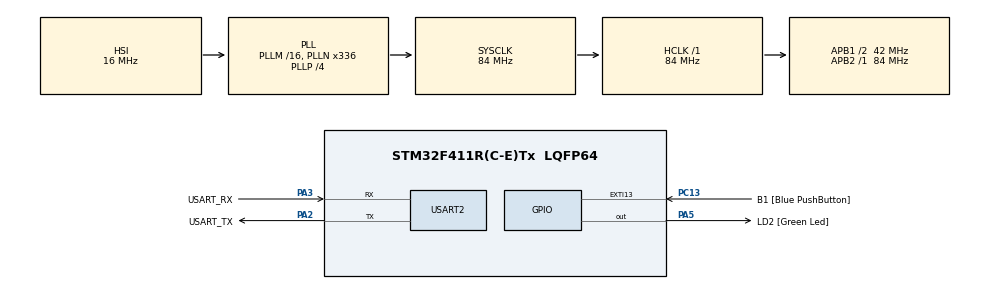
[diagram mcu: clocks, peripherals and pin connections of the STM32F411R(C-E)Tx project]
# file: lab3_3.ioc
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FREERTOS.BinarySemaphores01=Sem,Dynamic,NULL
FREERTOS.Tasks01=defaultTask,0,128,StartDefaultTask,Default,NULL,Dynamic,NULL,NULL
Mcu.Family=STM32F4
Mcu.Name=STM32F411R(C-E)Tx
Mcu.Package=LQFP64
NVIC.PriorityGroup=NVIC_PRIORITYGROUP_4
NVIC.TIM1_UP_TIM10_IRQn=true\:0\:0\:false\:false\:true\:false\:false\:true
NVIC.TimeBase=TIM1_UP_TIM10_IRQn
NVIC.TimeBaseIP=TIM1
PA13.GPIO_Label=TMS
PA13.Mode=Serial_Wire
PA13.Signal=SYS_JTMS-SWDIO
PA14.GPIO_Label=TCK
PA14.Mode=Serial_Wire
PA14.Signal=SYS_JTCK-SWCLK
PA2.GPIO_Label=USART_TX
PA2.Mode=Asynchronous
PA2.Signal=USART2_TX
PA3.GPIO_Label=USART_RX
PA3.Mode=Asynchronous
PA3.Signal=USART2_RX
PA5.GPIO_Label=LD2 [Green Led]
PA5.Signal=GPIO_Output
PB3.GPIO_Label=SWO
PB3.Signal=SYS_JTDO-SWO
PC13-ANTI_TAMP.GPIO_Label=B1 [Blue PushButton]
PC13-ANTI_TAMP.GPIO_ModeDefaultEXTI=GPIO_MODE_IT_FALLING
PC13-ANTI_TAMP.Signal=GPXTI13
PC14-OSC32_IN.Mode=LSE-External-Oscillator
PC14-OSC32_IN.Signal=RCC_OSC32_IN
PC15-OSC32_OUT.Mode=LSE-External-Oscillator
PC15-OSC32_OUT.Signal=RCC_OSC32_OUT
PH0\ -\ OSC_IN.Mode=HSE-External-Clock-Source
PH0\ -\ OSC_IN.Signal=RCC_OSC_IN
PH1\ -\ OSC_OUT.Mode=HSE-External-Clock-Source
PH1\ -\ OSC_OUT.Signal=RCC_OSC_OUT
ProjectManager.HeapSize=0x200
ProjectManager.StackSize=0x400
ProjectManager.TargetToolchain=STM32CubeIDE
RCC.48MHZClocksFreq_Value=84000000
RCC.AHBFreq_Value=84000000
RCC.APB1CLKDivider=RCC_HCLK_DIV2
RCC.APB1Freq_Value=42000000
RCC.APB1TimFreq_Value=84000000
RCC.APB2Freq_Value=84000000
RCC.APB2TimFreq_Value=84000000
RCC.CortexFreq_Value=84000000
RCC.FLatency-AdvancedSettings=FLASH_LATENCY_2
RCC.HCLKFreq_Value=84000000
RCC.HSE_VALUE=8000000
RCC.HSI_VALUE=16000000
RCC.PLLN=336
RCC.PLLP=RCC_PLLP_DIV4
RCC.SYSCLKFreq_VALUE=84000000
RCC.SYSCLKSource=RCC_SYSCLKSOURCE_PLLCLK
RCC.VCOOutputFreq_Value=336000000
USART2.VirtualMode=VM_ASYNC
VP_FREERTOS_VS_CMSIS_V1.Mode=CMSIS_V1
VP_SYS_VS_tim1.Mode=TIM1
board=NUCLEO-F411RE

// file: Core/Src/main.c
/* USER CODE BEGIN Header */
/**
  ******************************************************************************
  * @file           : main.c
  * @brief          : Main program body
  ******************************************************************************
  * @attention
  *
  * <h2><center>&copy; Copyright (c) 2021 STMicroelectronics.
  * All rights reserved.</center></h2>
  *
  * This software component is licensed by ST under BSD 3-Clause license,
  * the "License"; You may not use this file except in compliance with the
  * License. You may obtain a copy of the License at:
  *                        opensource.org/licenses/BSD-3-Clause
  *
  ******************************************************************************
  */
/* USER CODE END Header */
#include "main.h"
#include "cmsis_os.h"

UART_HandleTypeDef huart2;

osThreadId defaultTaskHandle;
osSemaphoreId SemHandle;

void SystemClock_Config(void);
static void MX_GPIO_Init(void);
static void MX_USART2_UART_Init(void);
void StartDefaultTask(void const * argument);

int main(void)
{

  /* MCU Configuration--------------------------------------------------------*/

  /* Reset of all peripherals, Initializes the Flash interface and the Systick. */
  HAL_Init();

  /* Configure the system clock */
  SystemClock_Config();

  /* Initialize all configured peripherals */
  MX_GPIO_Init();
  MX_USART2_UART_Init();

  /* Create the semaphores(s) */
  /* definition and creation of Sem */
  osSemaphoreDef(Sem);
  SemHandle = osSemaphoreCreate(osSemaphore(Sem), 1);

  /* Create the thread(s) */
  /* definition and creation of defaultTask */
  osThreadDef(defaultTask, StartDefaultTask, osPriorityNormal, 0, 128);
  defaultTaskHandle = osThreadCreate(osThread(defaultTask), NULL);

  /* Start scheduler */
  osKernelStart();

  /* We should never get here as control is now taken by the scheduler */
  /* Infinite loop */
  while (1)
  {

  }
}

void SystemClock_Config(void)
{
  RCC_OscInitTypeDef RCC_OscInitStruct = {0};
  RCC_ClkInitTypeDef RCC_ClkInitStruct = {0};

  /** Configure the main internal regulator output voltage
  */
  __HAL_RCC_PWR_CLK_ENABLE();
  __HAL_PWR_VOLTAGESCALING_CONFIG(PWR_REGULATOR_VOLTAGE_SCALE1);
  /** Initializes the RCC Oscillators according to the specified parameters
  * in the RCC_OscInitTypeDef structure.
  */
  RCC_OscInitStruct.OscillatorType = RCC_OSCILLATORTYPE_HSI;
  RCC_OscInitStruct.HSIState = RCC_HSI_ON;
  RCC_OscInitStruct.HSICalibrationValue = RCC_HSICALIBRATION_DEFAULT;
  RCC_OscInitStruct.PLL.PLLState = RCC_PLL_ON;
  RCC_OscInitStruct.PLL.PLLSource = RCC_PLLSOURCE_HSI;
  RCC_OscInitStruct.PLL.PLLM = 16;
  RCC_OscInitStruct.PLL.PLLN = 336;
  RCC_OscInitStruct.PLL.PLLP = RCC_PLLP_DIV4;
  RCC_OscInitStruct.PLL.PLLQ = 4;
  if (HAL_RCC_OscConfig(&RCC_OscInitStruct) != HAL_OK)
  {
    Error_Handler();
  }
  /** Initializes the CPU, AHB and APB buses clocks
  */
  RCC_ClkInitStruct.ClockType = RCC_CLOCKTYPE_HCLK|RCC_CLOCKTYPE_SYSCLK
                              |RCC_CLOCKTYPE_PCLK1|RCC_CLOCKTYPE_PCLK2;
  RCC_ClkInitStruct.SYSCLKSource = RCC_SYSCLKSOURCE_PLLCLK;
  RCC_ClkInitStruct.AHBCLKDivider = RCC_SYSCLK_DIV1;
  RCC_ClkInitStruct.APB1CLKDivider = RCC_HCLK_DIV2;
  RCC_ClkInitStruct.APB2CLKDivider = RCC_HCLK_DIV1;

  if (HAL_RCC_ClockConfig(&RCC_ClkInitStruct, FLASH_LATENCY_2) != HAL_OK)
  {
    Error_Handler();
  }
}

static void MX_USART2_UART_Init(void)
{

  huart2.Instance = USART2;
  huart2.Init.BaudRate = 115200;
  huart2.Init.WordLength = UART_WORDLENGTH_8B;
  huart2.Init.StopBits = UART_STOPBITS_1;
  huart2.Init.Parity = UART_PARITY_NONE;
  huart2.Init.Mode = UART_MODE_TX_RX;
  huart2.Init.HwFlowCtl = UART_HWCONTROL_NONE;
  huart2.Init.OverSampling = UART_OVERSAMPLING_16;
  if (HAL_UART_Init(&huart2) != HAL_OK)
  {
    Error_Handler();
  }

}

static void MX_GPIO_Init(void)
{
  GPIO_InitTypeDef GPIO_InitStruct = {0};

  /* GPIO Ports Clock Enable */
  __HAL_RCC_GPIOC_CLK_ENABLE();
  __HAL_RCC_GPIOH_CLK_ENABLE();
  __HAL_RCC_GPIOA_CLK_ENABLE();
  __HAL_RCC_GPIOB_CLK_ENABLE();

  /*Configure GPIO pin Output Level */
  HAL_GPIO_WritePin(LD2_GPIO_Port, LD2_Pin, GPIO_PIN_RESET);

  /*Configure GPIO pin : B1_Pin */
  GPIO_InitStruct.Pin = B1_Pin;
  GPIO_InitStruct.Mode = GPIO_MODE_IT_FALLING;
  GPIO_InitStruct.Pull = GPIO_NOPULL;
  HAL_GPIO_Init(B1_GPIO_Port, &GPIO_InitStruct);

  /*Configure GPIO pin : LD2_Pin */
  GPIO_InitStruct.Pin = LD2_Pin;
  GPIO_InitStruct.Mode = GPIO_MODE_OUTPUT_PP;
  GPIO_InitStruct.Pull = GPIO_NOPULL;
  GPIO_InitStruct.Speed = GPIO_SPEED_FREQ_LOW;
  HAL_GPIO_Init(LD2_GPIO_Port, &GPIO_InitStruct);

}

/* USER CODE BEGIN 4 */
void led_thread(void const *args) {
	while(1) {
		HAL_GPIO_TogglePin(GPIOA, GPIO_PIN_5);
		osDelay(18);
	}
}
void uart1_thread(void const *args) {
	while(1) {
		HAL_UART_Transmit(&huart2, "A", 1, 1000);
		osDelay(50);
	}
}
void uart2_thread(void const *args) {
	while(1) {
		HAL_UART_Transmit(&huart2, "B", 1, 1000);
		osDelay(128);
	}
}
void uartmsg1_thread(void const *args) {
	int threadID = 0; // threadID is 0 for one thread and 1 for
	int idx = 0;
	char buffer[32];

	while(1){
		osSemaphoreWait(SemHandle, osWaitForever);
		sprintf(buffer, "TID: %d %d\r\n", threadID, idx);
		idx ++;
		HAL_UART_Transmit(&huart2, &buffer, strlen(buffer), 1000);
		osSemaphoreRelease(SemHandle);
		osDelay(100);
	}
}
void uartmsg2_thread(void const *args) {
	int threadID = 1; // threadID is 0 for one thread and 1 for
	int idx = 0;
	char buffer[32];

	while(1){
		osSemaphoreWait(SemHandle, osWaitForever);
		sprintf(buffer, "TID: %d %d\r\n", threadID, idx);
		idx ++;
		HAL_UART_Transmit(&huart2, &buffer, strlen(buffer), 1000);
		osSemaphoreRelease(SemHandle);
		osDelay(100);
	}
}
/* USER CODE END 4 */

void StartDefaultTask(void const * argument)
{
  /* USER CODE BEGIN 5 */
	osThreadDef(led, led_thread, osPriorityNormal, 0, 128);
	osThreadCreate(osThread(led), NULL);
	osThreadDef(uart1, uart1_thread, osPriorityNormal, 0, 128);
	osThreadCreate(osThread(uart1), NULL);
	osThreadDef(uart2, uart2_thread, osPriorityNormal, 0, 128);
	osThreadCreate(osThread(uart2), NULL);

	  osThreadDef(uartmsg1, uartmsg1_thread, osPriorityNormal, 0, 128);
	  osThreadCreate(osThread(uartmsg1), NULL);
	  osThreadDef(uartmsg2, uartmsg2_thread, osPriorityNormal, 0, 128);
	  osThreadCreate(osThread(uartmsg2), NULL);
  /* Infinite loop */
  for(;;)
  {
	  osDelay(1);
  }
  /* USER CODE END 5 */
}

 /**
  * @brief  Period elapsed callback in non blocking mode
  * @note   This function is called  when TIM1 interrupt took place, inside
  * HAL_TIM_IRQHandler(). It makes a direct call to HAL_IncTick() to increment
  * a global variable "uwTick" used as application time base.
  * @param  htim : TIM handle
  * @retval None
  */
void HAL_TIM_PeriodElapsedCallback(TIM_HandleTypeDef *htim)
{
  if (htim->Instance == TIM1) {
    HAL_IncTick();
  }
}

void Error_Handler(void)
{
  __disable_irq();
  while (1)
  {
  }
}

/************************ (C) COPYRIGHT STMicroelectronics *****END OF FILE****/
